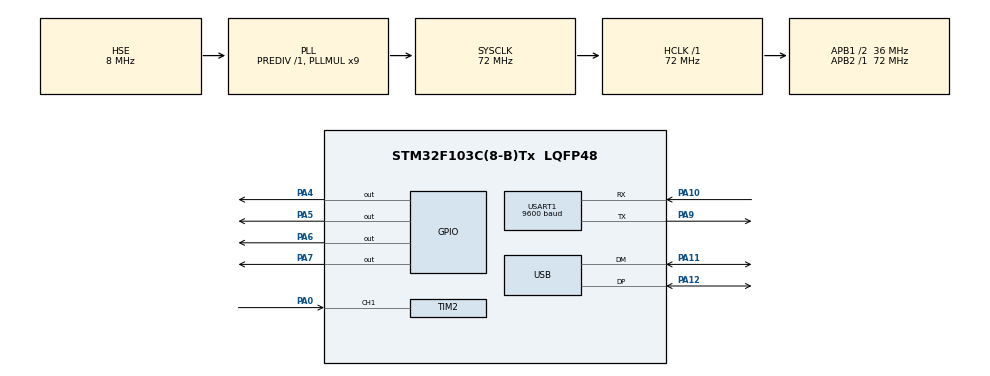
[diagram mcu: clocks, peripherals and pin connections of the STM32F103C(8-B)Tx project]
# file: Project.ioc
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Mcu.Family=STM32F1
Mcu.Name=STM32F103C(8-B)Tx
Mcu.Package=LQFP48
NVIC.PriorityGroup=NVIC_PRIORITYGROUP_4
NVIC.TIM3_IRQn=true\:0\:0\:false\:false\:true\:true\:true\:true
NVIC.USB_LP_CAN1_RX0_IRQn=true\:0\:0\:false\:false\:true\:false\:true\:true
PA0-WKUP.Signal=S_TIM2_CH1_ETR
PA10.Mode=Asynchronous
PA10.Signal=USART1_RX
PA11.Mode=Device
PA11.Signal=USB_DM
PA12.Mode=Device
PA12.Signal=USB_DP
PA13.Mode=Serial_Wire
PA13.Signal=SYS_JTMS-SWDIO
PA14.Mode=Serial_Wire
PA14.Signal=SYS_JTCK-SWCLK
PA4.GPIO_Speed=GPIO_SPEED_FREQ_HIGH
PA4.Signal=GPIO_Output
PA5.GPIO_Speed=GPIO_SPEED_FREQ_HIGH
PA5.Signal=GPIO_Output
PA6.GPIO_Speed=GPIO_SPEED_FREQ_HIGH
PA6.Signal=GPIO_Output
PA7.GPIO_Speed=GPIO_SPEED_FREQ_HIGH
PA7.Signal=GPIO_Output
PA9.Mode=Asynchronous
PA9.Signal=USART1_TX
PD0-OSC_IN.Mode=HSE-External-Oscillator
PD0-OSC_IN.Signal=RCC_OSC_IN
PD1-OSC_OUT.Mode=HSE-External-Oscillator
PD1-OSC_OUT.Signal=RCC_OSC_OUT
ProjectManager.HeapSize=0x200
ProjectManager.StackSize=0x400
ProjectManager.TargetToolchain=MDK-ARM V5.32
RCC.AHBFreq_Value=72000000
RCC.APB1CLKDivider=RCC_HCLK_DIV2
RCC.APB1Freq_Value=36000000
RCC.APB1TimFreq_Value=72000000
RCC.APB2Freq_Value=72000000
RCC.APB2TimFreq_Value=72000000
RCC.HCLKFreq_Value=72000000
RCC.PLLMUL=RCC_PLL_MUL9
RCC.PLLSourceVirtual=RCC_PLLSOURCE_HSE
RCC.SYSCLKFreq_VALUE=72000000
RCC.SYSCLKSource=RCC_SYSCLKSOURCE_PLLCLK
RCC.USBFreq_Value=48000000
RCC.USBPrescaler=RCC_USBCLKSOURCE_PLL_DIV1_5
SH.S_TIM2_CH1_ETR.0=TIM2_CH1,TriggerSource_TI1FP1
TIM3.Period=9999
TIM3.Prescaler=719
USART1.BaudRate=9600
USART1.VirtualMode=VM_ASYNC
USB_DEVICE.CLASS_NAME_FS=CDC
USB_DEVICE.VirtualMode=Cdc
USB_DEVICE.VirtualModeFS=Cdc_FS
VP_TIM2_VS_ControllerModeClock.Mode=Clock Mode
VP_TIM3_VS_ClockSourceINT.Mode=Internal
VP_USB_DEVICE_VS_USB_DEVICE_CDC_FS.Mode=CDC_FS
board=custom

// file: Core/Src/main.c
/* USER CODE BEGIN Header */
/**
  ******************************************************************************
  * @file           : main.c
  * @brief          : Main program body
  ******************************************************************************
  * @attention
  *
  * Copyright (c) 2022 STMicroelectronics.
  * All rights reserved.
  *
  * This software is licensed under terms that can be found in the LICENSE file
  * in the root directory of this software component.
  * If no LICENSE file comes with this software, it is provided AS-IS.
  *
  ******************************************************************************
  */
/* USER CODE END Header */
#include "main.h"
#include "usb_device.h"
#include "usbd_cdc_if.h"
#include "DFPlayer.h"
#include <string.h>
#include <stdio.h>

/* USER CODE BEGIN Includes */
#define S0_L HAL_GPIO_WritePin(GPIOA, GPIO_PIN_4, GPIO_PIN_RESET);
#define S0_H HAL_GPIO_WritePin (GPIOA, GPIO_PIN_4, GPIO_PIN_SET);
#define S1_L HAL_GPIO_WritePin (GPIOA, GPIO_PIN_5, GPIO_PIN_RESET);
#define S1_H HAL_GPIO_WritePin (GPIOA, GPIO_PIN_5, GPIO_PIN_SET);
#define S2_L HAL_GPIO_WritePin(GPIOA, GPIO_PIN_6, GPIO_PIN_RESET);
#define S2_H HAL_GPIO_WritePin (GPIOA, GPIO_PIN_6, GPIO_PIN_SET);
#define S3_L HAL_GPIO_WritePin(GPIOA, GPIO_PIN_7, GPIO_PIN_RESET);
#define S3_H HAL_GPIO_WritePin(GPIOA, GPIO_PIN_7, GPIO_PIN_SET);
//#define LED_OFF HAL_GPIO_WritePin(GPIOC, GPTO_PIN_4, GPIO_PIN_RESET);
//#define LED_ON HAL_GPIO_WritePin(GPIOC, GPIO_PIN_4, GPIO_PIN_SET);
float RGB_Scale[3];
int *rgb;
int count;
int cnt[3];
int flag;
uint8_t buf[200];
DFPLAYER_Name MP3;
//A9_TX, A10_RX
/* USER CODE END Includes */

TIM_HandleTypeDef htim2;
TIM_HandleTypeDef htim3;

UART_HandleTypeDef huart1;

void SystemClock_Config(void);
static void MX_GPIO_Init(void);
static void MX_TIM2_Init(void);
static void MX_TIM3_Init(void);
static void MX_USART1_UART_Init(void);

/* USER CODE BEGIN 0 */
void filter(int s2, int s3){
	if(s2 == 0 && s3 == 0){
		S2_L; S3_L;
	}
	if(s2 == 0 && s3 == 1){
		S2_L; S3_H;
	}
	if(s2 == 1 && s3 == 0){
		S2_H; S3_L;
	}
	if(s2 == 1 && s3 == 1){
		S2_H; S3_H;
	}
}

void TSC_WB(int s2, int s3){
	count = 0;
	flag++;
	filter(s2, s3);
}

int *GetColor()
{
	int r[3];
	r[0] = RGB_Scale[0]*cnt[0];
	r[1] = RGB_Scale[1]*cnt[1];
	r[2] = RGB_Scale[2]*cnt[2]+3;
	if (r[0]>255 && r[1]>255 && r[2]>255){
		r[0] = 255;
		r[1] = 255;
		r[2] = 255;
	}
	//else if (r[0]>255 && r[1]>255
	return r;
}

/* USER CODE END 0 */

int main(void)
{

  /* MCU Configuration--------------------------------------------------------*/

  /* Reset of all peripherals, Initializes the Flash interface and the Systick. */
  HAL_Init();

  /* Configure the system clock */
  SystemClock_Config();

  /* Initialize all configured peripherals */
  MX_GPIO_Init();
  MX_TIM2_Init();
  MX_USB_DEVICE_Init();
  MX_TIM3_Init();
  MX_USART1_UART_Init();
	DFPLAYER_Init(&MP3, &huart1);
	DFPLAYER_SetVolume(&MP3, 30);
	HAL_TIM_Base_Start_IT(&htim2);
	HAL_TIM_Base_Start_IT(&htim3);
  /* USER CODE BEGIN 2 */
	//DFPLAYER_Play(&MP3);
	S0_L;
	S1_H;
	HAL_Delay(4000);
	RGB_Scale[0] = 255.0/cnt[0];
	RGB_Scale[1] = 255.0/cnt[1];
	RGB_Scale[2] = 255.0/cnt[2];
	//sprintf(buf,"R = %d, G = %d, B = %d\n", (int)(RGB_Scale[0]*cnt[0]), (int)(RGB_Scale[1]*cnt[1]), (int)(RGB_Scale[2]*cnt[2]));
	//CDC_Transmit_FS(buf, strlen(buf));
  /* USER CODE END 2 */

  /* Infinite loop */
  while (1)
  {
		/*DFPLAYER_PlayFileInFolder(&MP3, 1, 2);
		HAL_Delay(4000);
		DFPLAYER_Stop(&MP3);*/
		flag = 0;
		count = 0;
		HAL_Delay(1000);
		rgb = GetColor();
		//sprintf(buf,"R = %d, G = %d, B = %d\n", (int)(RGB_Scale[0]*cnt[0]), (int)(RGB_Scale[1]*cnt[1]), (int)(RGB_Scale[2]*cnt[2]));
		//sprintf(buf,"R = %d, G = %d, B = %d\n", rgb[0],rgb[1],rgb[2]);
		//CDC_Transmit_FS(buf, strlen(buf));
		//HAL_Delay(2000);
		if (rgb[0]<12 && rgb[1]<12 && rgb[2]<12){
			//CDC_Transmit_FS("BLACK\n", 6);
			sprintf(buf,"R = %d, G = %d, B = %d\nUNDEFINED\n", rgb[0],rgb[1],rgb[2]);
			CDC_Transmit_FS(buf, strlen(buf));
		}
		else if (rgb[0]>180 && rgb[1]>180 && rgb[2]>180 && (rgb[0]-rgb[1])<40){
			sprintf(buf,"R = %d, G = %d, B = %d\nWHITE\n", rgb[0],rgb[1],rgb[2]);
			CDC_Transmit_FS(buf, strlen(buf));
			HAL_Delay(1000);
			DFPLAYER_PlayFileInFolder(&MP3, 1, 9);
			HAL_Delay(1500);
			DFPLAYER_Stop(&MP3);
			//CDC_Transmit_FS("WHITE\n", 6);
		}
		else if (rgb[0]>rgb[1] && abs(rgb[1]-rgb[2])>=2 && (rgb[0]-rgb[1])>10 && (rgb[0]-rgb[1])<40){
			//CDC_Transmit_FS("PINK\n", 6);
			sprintf(buf,"R = %d, G = %d, B = %d\nBROWN\n", rgb[0],rgb[1],rgb[2]);
			CDC_Transmit_FS(buf, strlen(buf));
			HAL_Delay(1000);
			DFPLAYER_PlayFileInFolder(&MP3, 1, 10);
			HAL_Delay(1500);
			DFPLAYER_Stop(&MP3);
		}
		else if (rgb[0]<40 && rgb[1]<40 && rgb[2]<40){
			//CDC_Transmit_FS("BLACK\n", 6);
			sprintf(buf,"R = %d, G = %d, B = %d\nBLACK\n", rgb[0],rgb[1],rgb[2]);
			CDC_Transmit_FS(buf, strlen(buf));
			HAL_Delay(1000);
			DFPLAYER_PlayFileInFolder(&MP3, 1, 8);
			HAL_Delay(1500);
			DFPLAYER_Stop(&MP3);
		}
		else if ((rgb[0]-rgb[1])>=50 && (rgb[0]-rgb[2])>=50 && (rgb[1]<100) && (rgb[2]<100)){
			sprintf(buf,"R = %d, G = %d, B = %d\nRED\n", rgb[0],rgb[1],rgb[2]);
			CDC_Transmit_FS(buf, strlen(buf));
			HAL_Delay(1000);
			DFPLAYER_PlayFileInFolder(&MP3, 1, 1);
			HAL_Delay(1500);
			DFPLAYER_Stop(&MP3);
		}
		else if (rgb[0]>rgb[1] && rgb[1]>rgb[2] && (rgb[0]-rgb[1])<60 && rgb[2]<180 && rgb[0]>120 && (rgb[0]-rgb[1])>10){
			//CDC_Transmit_FS("PINK\n", 6);
			sprintf(buf,"R = %d, G = %d, B = %d\nYELLOW\n", rgb[0],rgb[1],rgb[2]);
			CDC_Transmit_FS(buf, strlen(buf));
			HAL_Delay(1000);
			DFPLAYER_PlayFileInFolder(&MP3, 1, 5);
			HAL_Delay(1500);
			DFPLAYER_Stop(&MP3);
		}
		else if (rgb[0]>rgb[1] && abs(rgb[1]-rgb[2])<20 && (rgb[0]-rgb[1])>60 && rgb[2]<180){
			//CDC_Transmit_FS("PINK\n", 6);
			sprintf(buf,"R = %d, G = %d, B = %d\nORANGE\n", rgb[0],rgb[1],rgb[2]);
			CDC_Transmit_FS(buf, strlen(buf));
			HAL_Delay(1000);
			DFPLAYER_PlayFileInFolder(&MP3, 1, 7);
			HAL_Delay(1500);
			DFPLAYER_Stop(&MP3);
		}
		else if (rgb[0]>rgb[1] && rgb[2]>rgb[1] && rgb[0]>rgb[2] && (rgb[0]-rgb[1])>50){
			//CDC_Transmit_FS("PINK\n", 6);
			sprintf(buf,"R = %d, G = %d, B = %d\nPINK\n", rgb[0],rgb[1],rgb[2]);
			CDC_Transmit_FS(buf, strlen(buf));
			HAL_Delay(1000);
			DFPLAYER_PlayFileInFolder(&MP3, 1, 2);
			HAL_Delay(1500);
			DFPLAYER_Stop(&MP3);
		}
		else if ((rgb[2]-rgb[1])>=4 && (rgb[2]-rgb[0])>=4){
			sprintf(buf,"R = %d, G = %d, B = %d\nBLUE\n", rgb[0],rgb[1],rgb[2]);
			CDC_Transmit_FS(buf, strlen(buf));
			HAL_Delay(1000);
			DFPLAYER_PlayFileInFolder(&MP3, 1, 4);
			HAL_Delay(1500);
			DFPLAYER_Stop(&MP3);
		}
		else if ((rgb[2]-rgb[1])>=1 && (rgb[2]-rgb[0])>=-3){
			sprintf(buf,"R = %d, G = %d, B = %d\nPURPLE\n", rgb[0],rgb[1],rgb[2]);
			CDC_Transmit_FS(buf, strlen(buf));
			HAL_Delay(1000);
			DFPLAYER_PlayFileInFolder(&MP3, 1, 3);
			HAL_Delay(1500);
			DFPLAYER_Stop(&MP3);
		}
		else 	if ((rgb[1]-rgb[0])>=1 && (rgb[1]-rgb[2])>=10){
			sprintf(buf,"R = %d, G = %d, B = %d\nGREEN\n", rgb[0],rgb[1],rgb[2]);
			CDC_Transmit_FS(buf, strlen(buf));
			HAL_Delay(1000);
			DFPLAYER_PlayFileInFolder(&MP3, 1, 6);
			HAL_Delay(1500);
			DFPLAYER_Stop(&MP3);
		}
		else if ((rgb[0]>=50 && rgb[0]<180) && (rgb[1]>=50 && rgb[1]<180) && (rgb[2]>=50 && rgb[2]<180)){
			//CDC_Transmit_FS("GRAY\n", 6);
			sprintf(buf,"R = %d, G = %d, B = %d\nGRAY\n", rgb[0],rgb[1],rgb[2]);
			CDC_Transmit_FS(buf, strlen(buf));
			HAL_Delay(1000);
			DFPLAYER_PlayFileInFolder(&MP3, 1, 11);
			HAL_Delay(1500);
			DFPLAYER_Stop(&MP3);
		}
		else{
			sprintf(buf,"R = %d, G = %d, B = %d\nUNDEFINED\n", rgb[0],rgb[1],rgb[2]);
			CDC_Transmit_FS(buf, strlen(buf));
		}
  }
}

void SystemClock_Config(void)
{
  RCC_OscInitTypeDef RCC_OscInitStruct = {0};
  RCC_ClkInitTypeDef RCC_ClkInitStruct = {0};
  RCC_PeriphCLKInitTypeDef PeriphClkInit = {0};

  /** Initializes the RCC Oscillators according to the specified parameters
  * in the RCC_OscInitTypeDef structure.
  */
  RCC_OscInitStruct.OscillatorType = RCC_OSCILLATORTYPE_HSE;
  RCC_OscInitStruct.HSEState = RCC_HSE_ON;
  RCC_OscInitStruct.HSEPredivValue = RCC_HSE_PREDIV_DIV1;
  RCC_OscInitStruct.HSIState = RCC_HSI_ON;
  RCC_OscInitStruct.PLL.PLLState = RCC_PLL_ON;
  RCC_OscInitStruct.PLL.PLLSource = RCC_PLLSOURCE_HSE;
  RCC_OscInitStruct.PLL.PLLMUL = RCC_PLL_MUL9;
  if (HAL_RCC_OscConfig(&RCC_OscInitStruct) != HAL_OK)
  {
    Error_Handler();
  }

  /** Initializes the CPU, AHB and APB buses clocks
  */
  RCC_ClkInitStruct.ClockType = RCC_CLOCKTYPE_HCLK|RCC_CLOCKTYPE_SYSCLK
                              |RCC_CLOCKTYPE_PCLK1|RCC_CLOCKTYPE_PCLK2;
  RCC_ClkInitStruct.SYSCLKSource = RCC_SYSCLKSOURCE_PLLCLK;
  RCC_ClkInitStruct.AHBCLKDivider = RCC_SYSCLK_DIV1;
  RCC_ClkInitStruct.APB1CLKDivider = RCC_HCLK_DIV2;
  RCC_ClkInitStruct.APB2CLKDivider = RCC_HCLK_DIV1;

  if (HAL_RCC_ClockConfig(&RCC_ClkInitStruct, FLASH_LATENCY_2) != HAL_OK)
  {
    Error_Handler();
  }
  PeriphClkInit.PeriphClockSelection = RCC_PERIPHCLK_USB;
  PeriphClkInit.UsbClockSelection = RCC_USBCLKSOURCE_PLL_DIV1_5;
  if (HAL_RCCEx_PeriphCLKConfig(&PeriphClkInit) != HAL_OK)
  {
    Error_Handler();
  }
}

static void MX_TIM2_Init(void)
{

  TIM_SlaveConfigTypeDef sSlaveConfig = {0};
  TIM_MasterConfigTypeDef sMasterConfig = {0};

  htim2.Instance = TIM2;
  htim2.Init.Prescaler = 0;
  htim2.Init.CounterMode = TIM_COUNTERMODE_UP;
  htim2.Init.Period = 65535;
  htim2.Init.ClockDivision = TIM_CLOCKDIVISION_DIV1;
  htim2.Init.AutoReloadPreload = TIM_AUTORELOAD_PRELOAD_DISABLE;
  if (HAL_TIM_Base_Init(&htim2) != HAL_OK)
  {
    Error_Handler();
  }
  sSlaveConfig.SlaveMode = TIM_SLAVEMODE_EXTERNAL1;
  sSlaveConfig.InputTrigger = TIM_TS_TI1FP1;
  sSlaveConfig.TriggerPolarity = TIM_TRIGGERPOLARITY_RISING;
  sSlaveConfig.TriggerFilter = 0;
  if (HAL_TIM_SlaveConfigSynchro(&htim2, &sSlaveConfig) != HAL_OK)
  {
    Error_Handler();
  }
  sMasterConfig.MasterOutputTrigger = TIM_TRGO_RESET;
  sMasterConfig.MasterSlaveMode = TIM_MASTERSLAVEMODE_DISABLE;
  if (HAL_TIMEx_MasterConfigSynchronization(&htim2, &sMasterConfig) != HAL_OK)
  {
    Error_Handler();
  }

}

static void MX_TIM3_Init(void)
{

  TIM_ClockConfigTypeDef sClockSourceConfig = {0};
  TIM_MasterConfigTypeDef sMasterConfig = {0};

  htim3.Instance = TIM3;
  htim3.Init.Prescaler = 719;
  htim3.Init.CounterMode = TIM_COUNTERMODE_UP;
  htim3.Init.Period = 9999;
  htim3.Init.ClockDivision = TIM_CLOCKDIVISION_DIV1;
  htim3.Init.AutoReloadPreload = TIM_AUTORELOAD_PRELOAD_DISABLE;
  if (HAL_TIM_Base_Init(&htim3) != HAL_OK)
  {
    Error_Handler();
  }
  sClockSourceConfig.ClockSource = TIM_CLOCKSOURCE_INTERNAL;
  if (HAL_TIM_ConfigClockSource(&htim3, &sClockSourceConfig) != HAL_OK)
  {
    Error_Handler();
  }
  sMasterConfig.MasterOutputTrigger = TIM_TRGO_RESET;
  sMasterConfig.MasterSlaveMode = TIM_MASTERSLAVEMODE_DISABLE;
  if (HAL_TIMEx_MasterConfigSynchronization(&htim3, &sMasterConfig) != HAL_OK)
  {
    Error_Handler();
  }

}

static void MX_USART1_UART_Init(void)
{

  huart1.Instance = USART1;
  huart1.Init.BaudRate = 9600;
  huart1.Init.WordLength = UART_WORDLENGTH_8B;
  huart1.Init.StopBits = UART_STOPBITS_1;
  huart1.Init.Parity = UART_PARITY_NONE;
  huart1.Init.Mode = UART_MODE_TX_RX;
  huart1.Init.HwFlowCtl = UART_HWCONTROL_NONE;
  huart1.Init.OverSampling = UART_OVERSAMPLING_16;
  if (HAL_UART_Init(&huart1) != HAL_OK)
  {
    Error_Handler();
  }

}

static void MX_GPIO_Init(void)
{
  GPIO_InitTypeDef GPIO_InitStruct = {0};

  /* GPIO Ports Clock Enable */
  __HAL_RCC_GPIOD_CLK_ENABLE();
  __HAL_RCC_GPIOA_CLK_ENABLE();

  /*Configure GPIO pin Output Level */
  HAL_GPIO_WritePin(GPIOA, GPIO_PIN_4|GPIO_PIN_5|GPIO_PIN_6|GPIO_PIN_7, GPIO_PIN_RESET);

  /*Configure GPIO pins : PA4 PA5 PA6 PA7 */
  GPIO_InitStruct.Pin = GPIO_PIN_4|GPIO_PIN_5|GPIO_PIN_6|GPIO_PIN_7;
  GPIO_InitStruct.Mode = GPIO_MODE_OUTPUT_PP;
  GPIO_InitStruct.Pull = GPIO_NOPULL;
  GPIO_InitStruct.Speed = GPIO_SPEED_FREQ_HIGH;
  HAL_GPIO_Init(GPIOA, &GPIO_InitStruct);

}

/* USER CODE BEGIN 4 */
void HAL_TIM_PeriodElapsedCallback(TIM_HandleTypeDef *htim){
	if(htim->Instance == htim3.Instance){
		count = __HAL_TIM_GetCounter(&htim2);
		switch(flag){
			case 0:
				TSC_WB(0, 0);
				break;
			case 1:
				cnt[0] = count;
				TSC_WB(1,1);
				break;
			case 2:
				cnt[1] = count;
				TSC_WB(0,1);
				break;
			case 3:
				cnt[2] = count;
				TSC_WB(1,0);
				break;
			default: count = 0; break;
		}
	__HAL_TIM_SetCounter(&htim2, 0);
	}
}

/* USER CODE END 4 */

void Error_Handler(void)
{
  __disable_irq();
  while (1)
  {
  }
}
